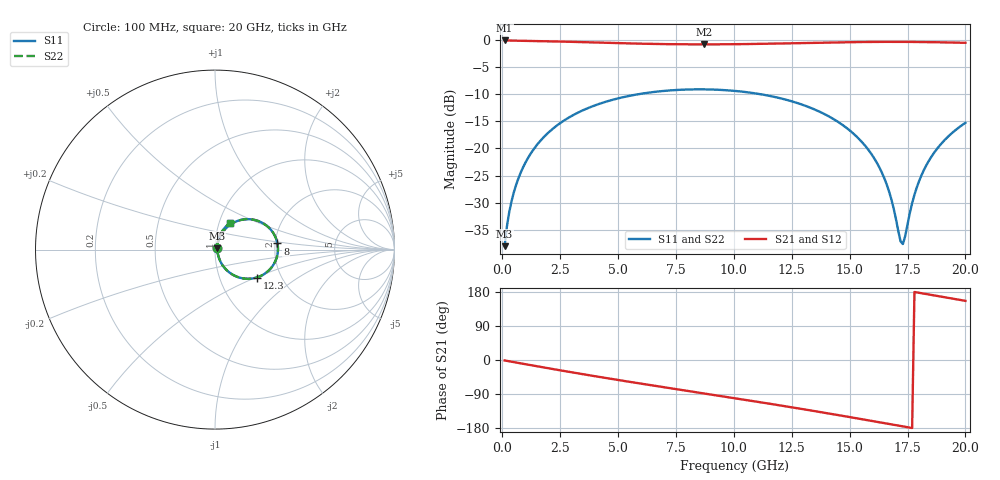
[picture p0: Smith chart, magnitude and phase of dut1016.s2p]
! Touchstone file exported from HFSS 2026.1.0
!  File:  C:/ffzhzh/LocalFiles/Ansys_Project_Files/temp_train_TSV_RDL_1016_1783292093_39728.aedt
!  Generated:  07:03:32 AM Jul  6, 2026
!  Design:  TSV_RDL
!  Project:  temp_train_TSV_RDL_1016_1783292093_39728
! Variables:
!  h_bsmrdl = 3.81um
!  h_ox = 20um
!  h_rdl = 5um
!  h_sub = 81.38um
!  h_tmrdl = 5.38um
!  h_tsv = 81.38um
!  h_via = 3um
!  l_bsmrdl = 169.3um
!  l_sub = 3364.44um
!  l_tmrdl = 578.36um
!  m_sub = 200um
!  pitch = 47.73um
!  r_tsv = 11.85um
!  s_tmrdl = 10um
!  w_bsmrdl = 18.61um
!  w_sub = 500um
!  w_tmrdl = 29.09um
!  x_tsv_center1 = 592.905um
!  x_tsv_center2 = 780.815um
!  x_tsv_center3 = 1388.265um
!  x_tsv_center4 = 1576.175um
!  x_tsv_center5 = 2183.625um
!  x_tsv_center6 = 2371.535um
# GHz S MA R 50.000000
! Terminal data exported
! Port[1] = TM_RDL1_1_T1
! Port[2] = TM_RDL5_1_T1
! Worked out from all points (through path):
!   200 points, 100 MHz to 20 GHz, reference 50 ohm
!   highest |S21| = -0.08 dB at 100 MHz (marker M1); lowest = -0.8 dB at 8.7 GHz (marker M2)
!   group delay of S21, straight-line fit = 27.8 ps
!   lowest |S11| = -38.0 dB at 100 MHz (marker M3), VSWR 1.03, Z = 51 + j0.836 ohm
!   |S11| at or under -10 dB: start of sweep to 5.872 GHz; 11.16 GHz to end of sweep
!   |S22| runs from -38.0 to -9.1 dB; largest |S21 - S12| = 9.7e-14
!   S11 on the Smith chart (normalised r, x): 100 MHz: 1.02, +0.02; 8 GHz: 2.06, +0.16; 12.3 GHz: 1.50, -0.51; 20 GHz: 1.13, +0.35
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0.1  0.01255 40.8  0.9906 -1.2  0.9906 -1.2  0.01255 40.8
! Gamma 0 0 0 0
! Port Impedance 50 0 50 0
0.3  0.02587 61.9  0.9889 -3.4  0.9889 -3.4  0.02587 61.9
0.5  0.03949 67.2  0.9875 -5.6  0.9875 -5.6  0.03949 67.2
1.1  0.08092 68.5  0.9836 -12.2  0.9836 -12.2  0.08092 68.5
2.1  0.1469 60.9  0.9736 -23.0  0.9736 -23.0  0.1469 61.0
3.5  0.2258 47.6  0.9551 -37.7  0.9551 -37.7  0.2258 47.6
6.8  0.3364 16.6  0.9182 -70.1  0.9182 -70.1  0.3363 16.6
8  0.3496 5.7  0.9126 -81.5  0.9126 -81.5  0.3496 5.7
8.7  0.3508 -0.7  0.9118 -88.1  0.9118 -88.1  0.3507 -0.7
10.1  0.3384 -13.4  0.9152 -101.4  0.9152 -101.4  0.3384 -13.4
12.3  0.2798 -33.8  0.9315 -122.8  0.9315 -122.8  0.2798 -33.7
13.4  0.233 -44.0  0.942 -133.9  0.942 -133.9  0.233 -44.0
14.6  0.1701 -55.0  0.9525 -146.4  0.9525 -146.4  0.1701 -54.9
15.5  0.1165 -62.2  0.9584 -155.9  0.9584 -155.9  0.1165 -62.2
16.2  0.07225 -65.5  0.961 -163.4  0.961 -163.4  0.07226 -65.5
16.7  0.04033 -62.3  0.9618 -168.7  0.9618 -168.7  0.04035 -62.2
17.2  0.0139 -17.0  0.9615 -174.1  0.9615 -174.1  0.01395 -16.9
17.3  0.01314 10.4  0.9613 -175.2  0.9613 -175.2  0.01319 10.3
17.8  0.03739 66.9  0.9598 179.4  0.9598 179.4  0.0374 66.9
18.3  0.06911 71.2  0.9572 174.1  0.9572 174.1  0.06912 71.2
19  0.1132 68.2  0.9521 166.6  0.9521 166.6  0.1132 68.2
20  0.1722 60.2  0.9424 156.1  0.9424 156.1  0.1721 60.2
